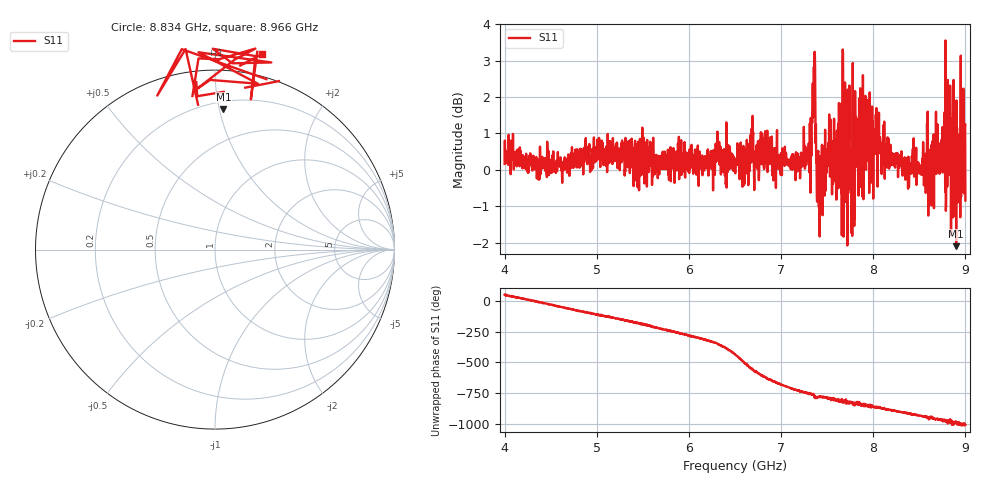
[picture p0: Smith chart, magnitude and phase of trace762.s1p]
! Created with skrf 1.8.0 (http://scikit-rf.org).
# Hz S RI R 50.0
!freq ReS11 ImS11
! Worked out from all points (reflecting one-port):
!   1601 points, 4 GHz to 9 GHz, reference 50 ohm
!   lowest |S11| = -2.1 dB at 8.9 GHz (marker M1), VSWR 8.32, Z = 12.6 + j51.4 ohm
!   phase of S11 starts at 50 deg and turns -1056 deg over the sweep
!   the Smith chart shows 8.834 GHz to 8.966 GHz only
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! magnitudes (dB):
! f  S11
! 4 GHz  0.2
! 4.625 GHz  -0.4
! 5.25 GHz  0.0
! 5.875 GHz  0.0
! 6.5 GHz  0.0
! 6.691 GHz  1.5
! 7.125 GHz  0.3
! 7.294 GHz  0.3
! 7.347 GHz  1.4
! 7.412 GHz  -1.0
! 7.525 GHz  0.3
! 7.575 GHz  1.4
! 7.638 GHz  0.6
! 7.65 GHz  1.5
! 7.688 GHz  2.0
! 7.703 GHz  1.7
! 7.75 GHz  -0.5
! 7.775 GHz  1.3
! 7.828 GHz  0.2
! 7.928 GHz  1.6
! 7.981 GHz  0.0
! 8.053 GHz  0.7
! 8.375 GHz  0.0
! 8.622 GHz  -0.3
! 8.816 GHz  0.0
! 8.9 GHz  -2.1
! 8.972 GHz  0.5
! 9 GHz  -0.8
